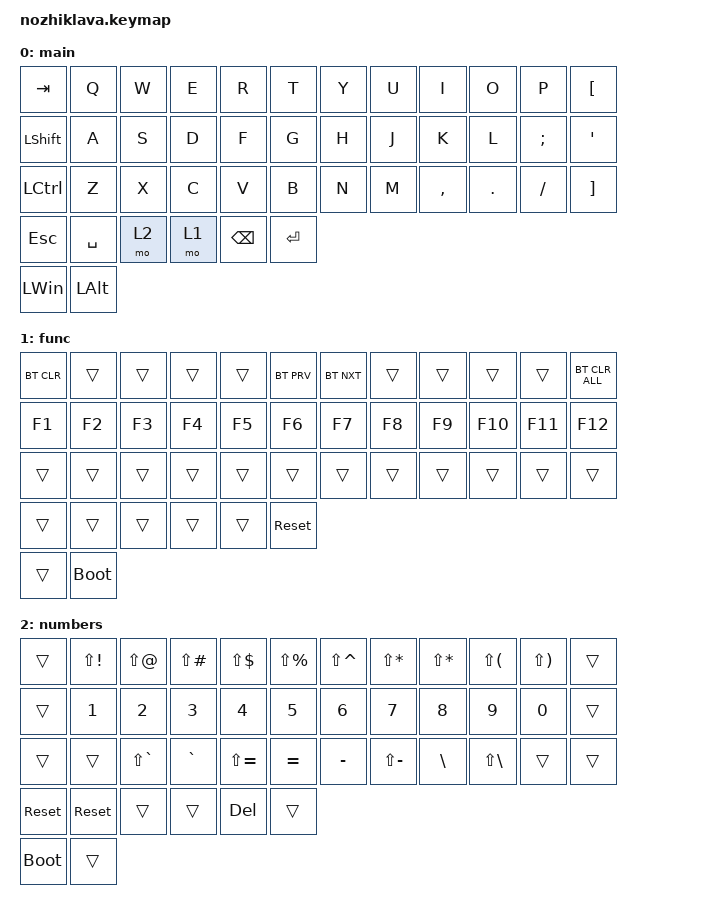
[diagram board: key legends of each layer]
#include <behaviors.dtsi>
#include <dt-bindings/zmk/bt.h>
#include <dt-bindings/zmk/keys.h>

&soft_off { hold-time-ms = <3000>; };

&mt {
    flavor = "balanced";
    require-prior-idle-ms = <200>;
    tapping-term-ms = <200>;
    quick-tap-ms = <175>;
};

/ {
    behaviors {
        as: auto_shift {
            compatible = "zmk,behavior-hold-tap";
            label = "Auto Shift";
            bindings = <&kp>, <&kp>;

            #binding-cells = <2>;
            quick-tap-ms = <0>;
            tapping-term-ms = <200>;
            flavor = "hold-preferred";
            require-prior-idle-ms = <125>;
        };
    };

    keymap {
        compatible = "zmk,keymap";

        main {
            bindings = <
&kp TAB         &kp Q         &kp W  &kp E  &kp R          &kp T      &kp Y  &kp U  &kp I      &kp O    &kp P     &kp LBKT
&kp LEFT_SHIFT  &kp A         &kp S  &kp D  &kp F          &kp G      &kp H  &kp J  &kp K      &kp L    &kp SEMI  &kp SQT
&kp LCTRL       &kp Z         &kp X  &kp C  &kp V          &kp B      &kp N  &kp M  &kp COMMA  &kp DOT  &kp FSLH  &kp RBKT
&kp ESCAPE      &kp SPACE     &mo 2  &mo 1  &kp BACKSPACE  &kp ENTER
&kp LEFT_WIN    &kp LEFT_ALT
            >;
        };

        func {
            bindings = <
&bt BT_CLR  &trans       &trans  &trans  &trans  &bt BT_PRV  &bt BT_NXT  &trans  &trans  &trans   &trans   &bt BT_CLR_ALL
&kp F1      &kp F2       &kp F3  &kp F4  &kp F5  &kp F6      &kp F7      &kp F8  &kp F9  &kp F10  &kp F11  &kp F12
&trans      &trans       &trans  &trans  &trans  &trans      &trans      &trans  &trans  &trans   &trans   &trans
&trans      &trans       &trans  &trans  &trans  &sys_reset
&trans      &bootloader
            >;
        };

        numbers {
            bindings = <
&trans       &kp LS(EXCL)  &kp LS(AT)     &kp LS(POUND)  &kp LS(DLLR)   &kp LS(PRCNT)  &kp LS(CARET)  &kp LS(STAR)   &kp LS(STAR)  &kp LS(LPAR)       &kp LS(RPAR)  &trans
&trans       &kp N1        &kp N2         &kp N3         &kp N4         &kp N5         &kp N6         &kp N7         &kp N8        &kp N9             &kp N0        &trans
&trans       &trans        &kp LS(GRAVE)  &kp GRAVE      &kp LS(EQUAL)  &kp EQUAL      &kp MINUS      &kp LS(MINUS)  &kp BSLH      &kp LS(BACKSLASH)  &trans        &trans
&sys_reset   &sys_reset    &trans         &trans         &kp DELETE     &trans
&bootloader  &trans
            >;
        };
    };
};
